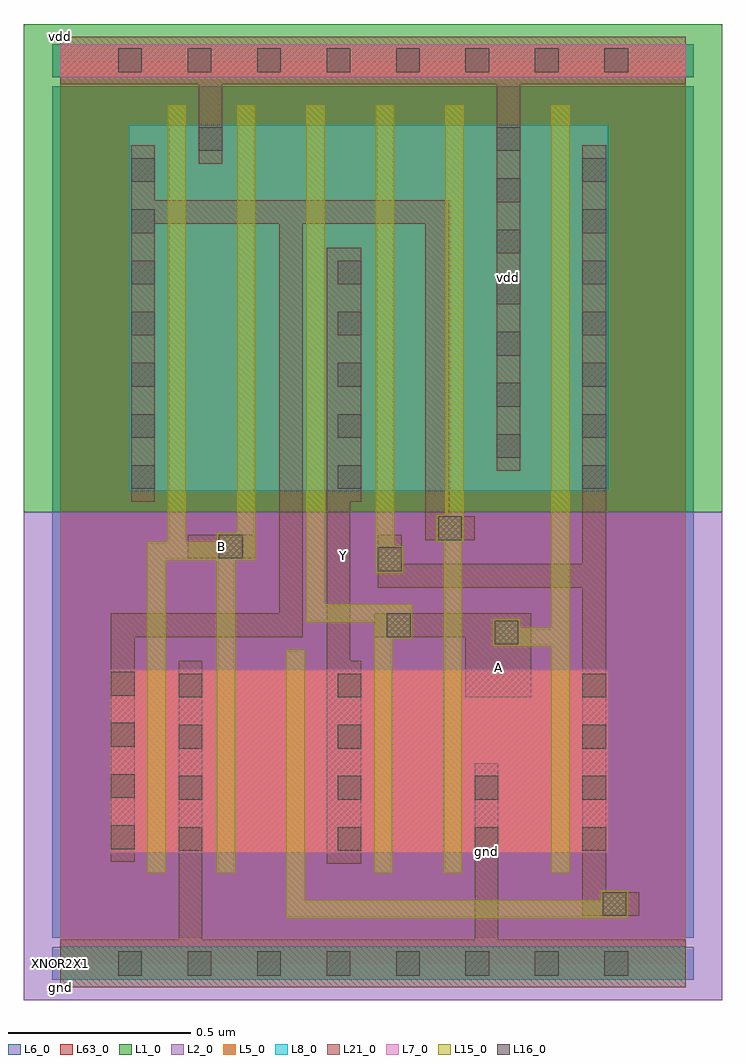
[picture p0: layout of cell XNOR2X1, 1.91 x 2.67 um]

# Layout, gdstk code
import gdstk
lib = gdstk.Library(unit=1e-6, precision=1e-09)
def R(c, l, rs):  # rectangles x0, y0, x1, y1
    for r in rs: c.add(gdstk.rectangle(r[:2], r[2:], *l))
def A(c, l, x, y, w, h, nx, ny, dx, dy):  # array of equal rectangles
    R(c, l, [(x+i*dx, y+j*dy, x+i*dx+w, y+j*dy+h) for i in range(nx) for j in range(ny)])
def P(c, l, *ps):  # polygons
    for p in ps: c.add(gdstk.Polygon(p, *l))
L1_0 = (1, 0)
L2_0 = (2, 0)
L5_0 = (5, 0)
L6_0 = (6, 0)
L7_0 = (7, 0)
L8_0 = (8, 0)
L15_0 = (15, 0)
L16_0 = (16, 0)
L21_0 = (21, 0)
L63_0 = (63, 0)

xnor2x1 = lib.new_cell('XNOR2X1')
R(xnor2x1, L1_0, [(-0.1,1.235,1.81,2.57)])
R(xnor2x1, L2_0, [(-0.1,-0.1,1.81,1.235)])
A(xnor2x1, L5_0, 0.238, 0.303, 0.05, 0.5, 3, 1, 0.19, 0)
A(xnor2x1, L5_0, 0.293, 1.293, 0.05, 1, 5, 1, 0.19, 0)
A(xnor2x1, L5_0, 0.343, 1.293, 0.14, 1, 4, 1, 0.19, 0)
R(xnor2x1, L5_0, [(0,-0.045,1.71,0.045), (0.133,0.303,0.238,0.803), (0.288,0.303,0.428,0.803), (0.478,0.303,0.618,0.803), (0.668,0.303,0.858,0.803), (0.858,0.303,0.908,0.803), (0.908,0.303,1.048,0.803), (1.048,0.303,1.098,0.803), (1.098,0.303,1.343,0.803), (1.343,0.303,1.393,0.803), (1.393,0.303,1.498,0.803), (0.188,1.293,0.293,2.293), (1.103,1.293,1.343,2.293), (1.343,1.293,1.393,2.293), (1.393,1.293,1.498,2.293), (0,2.425,1.71,2.515)])
R(xnor2x1, L6_0, [(-0.023,-0.045,1.733,0.045), (-0.023,-0.045,1.733,0.045), (-0.023,0.07,1.733,1.235), (-0.023,1.235,1.733,2.4), (-0.023,2.425,1.733,2.515), (-0.023,2.425,1.733,2.515)])
A(xnor2x1, L7_0, 0.238, 0.303, 0.05, 0.5, 3, 1, 0.19, 0)
R(xnor2x1, L7_0, [(0.133,0.303,0.238,0.803), (0.288,0.303,0.428,0.803), (0.478,0.303,0.618,0.803), (0.668,0.303,0.858,0.803), (0.858,0.303,0.908,0.803), (0.908,0.303,1.048,0.803), (1.048,0.303,1.098,0.803), (1.098,0.303,1.343,0.803), (1.343,0.303,1.393,0.803), (1.393,0.303,1.498,0.803), (0,2.425,1.71,2.515)])
A(xnor2x1, L8_0, 0.293, 1.293, 0.05, 1, 5, 1, 0.19, 0)
A(xnor2x1, L8_0, 0.343, 1.293, 0.14, 1, 4, 1, 0.19, 0)
R(xnor2x1, L8_0, [(0,-0.045,1.71,0.045), (0.188,1.293,0.293,2.293), (1.103,1.293,1.343,2.293), (1.343,1.293,1.393,2.293), (1.393,1.293,1.498,2.293)])
A(xnor2x1, L15_0, 0.238, 0.303, 0.05, 0.5, 3, 1, 0.19, 0)
A(xnor2x1, L15_0, 0.293, 1.293, 0.05, 1, 5, 1, 0.19, 0)
A(xnor2x1, L15_0, 0.293, 2.293, 0.05, 0.055, 5, 1, 0.19, 0)
R(xnor2x1, L15_0, [(0.238,0.248,0.288,0.303), (0.428,0.248,0.478,0.303), (0.858,0.248,0.908,0.303), (1.048,0.248,1.098,0.303), (1.343,0.248,1.393,0.303), (0.858,0.303,0.908,0.803), (1.048,0.303,1.098,0.803), (1.343,0.303,1.393,0.803), (0.618,0.803,0.668,0.858), (1.343,1.293,1.393,2.293), (1.343,2.293,1.393,2.348)])
P(xnor2x1, L15_0, [(0.238,1.153),(0.293,1.153),(0.293,1.293),(0.343,1.293),(0.343,1.153),(0.428,1.153),(0.428,1.178),(0.483,1.178),(0.483,1.293),(0.533,1.293),(0.533,1.103),(0.478,1.103),(0.478,0.803),(0.428,0.803),(0.428,1.103),(0.288,1.103),(0.288,0.803),(0.238,0.803)],
  [(0.668,0.173),(1.478,0.173),(1.478,0.2),(1.553,0.2),(1.553,0.123),(0.618,0.123),(0.618,0.303),(0.668,0.303)],
  [(0.723,0.983),(0.963,0.983),(0.963,0.888),(0.908,0.888),(0.908,0.803),(0.858,0.803),(0.858,0.933),(0.673,0.933),(0.673,1.293),(0.723,1.293)],
  [(0.913,1.143),(0.938,1.143),(0.938,1.068),(0.863,1.068),(0.863,1.293),(0.913,1.293)],
  [(1.048,1.153),(1.028,1.153),(1.028,1.228),(1.053,1.228),(1.053,1.293),(1.103,1.293),(1.103,1.153),(1.098,1.153),(1.098,0.803),(1.048,0.803)],
  [(1.343,0.868),(1.183,0.868),(1.183,0.943),(1.258,0.943),(1.258,0.918),(1.343,0.918),(1.343,1.293),(1.393,1.293),(1.393,0.803),(1.343,0.803)])
A(xnor2x1, L16_0, 0.158, -0.033, 0.065, 0.066, 8, 1, 0.19, 0)
A(xnor2x1, L16_0, 0.323, 0.308, 0.065, 0.065, 1, 4, 0, 0.14)
A(xnor2x1, L16_0, 0.758, 0.308, 0.065, 0.065, 1, 4, 0, 0.14)
A(xnor2x1, L16_0, 1.428, 0.308, 0.065, 0.065, 1, 4, 0, 0.14)
A(xnor2x1, L16_0, 0.138, 0.313, 0.065, 0.065, 1, 4, 0, 0.14)
A(xnor2x1, L16_0, 0.193, 1.298, 0.065, 0.065, 1, 7, 0, 0.14)
A(xnor2x1, L16_0, 0.758, 1.298, 0.065, 0.065, 1, 5, 0, 0.14)
A(xnor2x1, L16_0, 1.428, 1.298, 0.065, 0.065, 1, 7, 0, 0.14)
A(xnor2x1, L16_0, 1.193, 1.383, 0.065, 0.065, 1, 4, 0, 0.14)
A(xnor2x1, L16_0, 0.158, 2.438, 0.065, 0.065, 8, 1, 0.19, 0)
R(xnor2x1, L16_0, [(1.483,0.13,1.548,0.195), (1.133,0.308,1.198,0.373), (1.133,0.448,1.198,0.513), (1.188,0.873,1.253,0.938), (0.893,0.893,0.958,0.958), (0.868,1.073,0.933,1.138), (0.433,1.108,0.498,1.173), (1.033,1.158,1.098,1.223), (1.193,1.943,1.258,2.007), (1.193,2.083,1.258,2.148), (0.378,2.223,0.443,2.288), (1.193,2.223,1.258,2.288)])
R(xnor2x1, L21_0, [(0.348,1.108,0.533,1.173)])
P(xnor2x1, L21_0, [(0,2.405),(0,2.535),(1.71,2.535),(1.71,2.405),(1.258,2.405),(1.258,1.348),(1.193,1.348),(1.193,2.405),(0.443,2.405),(0.443,2.188),(0.378,2.188),(0.378,2.405)],
  [(0,-0.065),(0,0.065),(0.323,0.065),(0.323,0.828),(0.388,0.828),(0.388,0.065),(1.133,0.065),(1.133,0.548),(1.198,0.548),(1.198,0.065),(1.71,0.065),(1.71,-0.065)],
  [(1.428,1.028),(0.868,1.028),(0.868,1.173),(0.933,1.173),(0.933,1.093),(1.428,1.093),(1.428,2.238),(1.493,2.238),(1.493,0.195),(1.583,0.195),(1.583,0.13),(1.428,0.13)],
  [(1.108,0.728),(1.108,0.893),(0.858,0.893),(0.858,0.958),(1.288,0.958),(1.288,0.728)],
  [(0.663,0.893),(0.203,0.893),(0.203,0.278),(0.138,0.278),(0.138,0.958),(0.598,0.958),(0.598,2.023),(0.258,2.023),(0.258,1.263),(0.193,1.263),(0.193,2.238),(0.258,2.238),(0.258,2.088),(1.063,2.088),(1.063,1.223),(1.133,1.223),(1.133,1.158),(0.998,1.158),(0.998,2.023),(0.663,2.023)],
  [(0.793,0.828),(0.823,0.828),(0.823,0.273),(0.728,0.273),(0.728,1.958),(0.823,1.958),(0.823,1.263),(0.793,1.263)])
R(xnor2x1, L63_0, [(0,0,1.71,2.47)])
xnor2x1.add(gdstk.Label('vdd', (1.225,1.876), layer=21, texttype=1))
xnor2x1.add(gdstk.Label('gnd', (1.165,0.306), layer=21, texttype=1))
xnor2x1.add(gdstk.Label('A', (1.198,0.81), layer=21, texttype=1))
xnor2x1.add(gdstk.Label('Y', (0.775,1.115), layer=21, texttype=1))
xnor2x1.add(gdstk.Label('B', (0.44,1.14), layer=21, texttype=1))
xnor2x1.add(gdstk.Label('vdd', (0,2.535), layer=21, texttype=2))
xnor2x1.add(gdstk.Label('gnd', (0,-0.065), layer=21, texttype=2))
xnor2x1.add(gdstk.Label('XNOR2X1', (0,0), layer=63, texttype=1))

lib.write_gds('XNOR2X1.gds')
